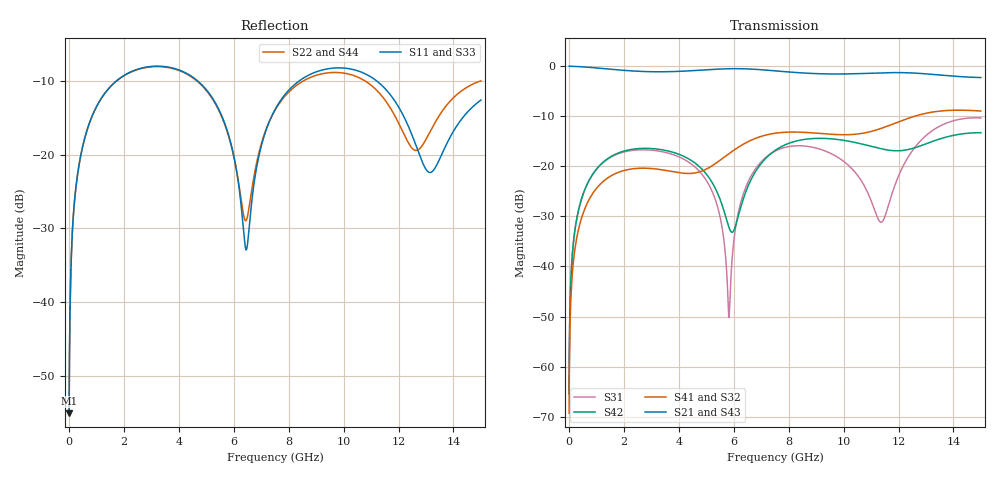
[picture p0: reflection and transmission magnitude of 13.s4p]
! Created with skrf 1.8.0 (http://scikit-rf.org).
# GHz S RI R 50.0
!freq ReS11 ImS11 ReS12 ImS12 ReS13 ImS13
! ReS14 ImS14
! ReS21 ImS21 ReS22 ImS22 ReS23 ImS23
! ReS24 ImS24
! ReS31 ImS31 ReS32 ImS32 ReS33 ImS33
! ReS34 ImS34
! ReS41 ImS41 ReS42 ImS42 ReS43 ImS43
! ReS44 ImS44
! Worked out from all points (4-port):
!   2499 points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, 5 MHz to 15 GHz, reference 50 ohm
!   strongest paths, dB at 5 MHz, 3.476 GHz, 7.19 GHz, 11.1 GHz, 15 GHz:
!     S21: 0.0, -1.1, -0.8, -1.4, -2.3
!     S43: 0.0, -1.1, -0.8, -1.4, -2.3
!     S41: -69.3, -20.8, -13.7, -12.9, -9.0
!     S32: -69.3, -20.8, -13.7, -12.9, -9.0
!     S42: -65.4, -16.8, -18.3, -16.1, -13.3
!     S31: -65.4, -17.2, -18.1, -28.2, -10.3
!   lowest |S11| = -55.1 dB at 5 MHz (marker M1), VSWR 1.00, Z = 50.1 + j0.107 ohm
!   |S11| at or under -10 dB: start of sweep to 1.727 GHz; 4.685 GHz to 8.384 GHz (3.699 GHz wide, 56.6 % of centre); 11.2 GHz to end of sweep
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0.005  0.0014 0.00107  0.9986 -0.00272  6.86e-05 0.00053  -6.68e-05 -0.000336
       0.9986 -0.00272  0.0014 0.00107  -6.68e-05 -0.000336  6.87e-05 0.00053
       6.86e-05 0.00053  -6.68e-05 -0.000336  0.0014 0.00107  0.9986 -0.00272
       -6.68e-05 -0.000336  6.87e-05 0.00053  0.9986 -0.00272  0.0014 0.00107
0.3126303  0.0184 0.071  0.9751 -0.1702  0.00767 0.032  -0.00661 -0.0202
           0.9751 -0.1702  0.0183 0.071  -0.00661 -0.0202  0.0081 0.0319
           0.00767 0.032  -0.00661 -0.0202  0.0184 0.071  0.9751 -0.1702
           -0.00661 -0.0202  0.0081 0.0319  0.9751 -0.1702  0.0183 0.071
1.569404  0.227 0.192  0.6406 -0.6711  0.1026 0.0718  -0.0789 -0.0202
          0.6406 -0.6711  0.2251 0.1929  -0.0788 -0.0202  0.109 0.0649
          0.1026 0.0718  -0.0788 -0.0202  0.227 0.1919  0.6405 -0.6711
          -0.0789 -0.0202  0.109 0.0649  0.6405 -0.6711  0.2251 0.1929
5.827428  0.058 -0.1196  -0.8746 -0.3477  0.00297 0.000873  -0.045 0.126
          -0.8746 -0.3477  0.0688 -0.111  -0.0456 0.1258  -0.0212 -0.0124
          0.00297 0.000873  -0.0456 0.1258  0.0588 -0.1197  -0.8746 -0.3476
          -0.045 0.126  -0.0212 -0.0124  -0.8746 -0.3476  0.0682 -0.1116
6.440183  0.0224 -0.00387  -0.9372 -0.0537  0.0105 0.061  -0.00489 0.1714
          -0.9372 -0.0537  0.0355 -0.00041  -0.00568 0.1713  -0.00275 0.0556
          0.0105 0.061  -0.00568 0.1713  0.0236 -0.00393  -0.9372 -0.0535
          -0.00489 0.1714  -0.00275 0.0556  -0.9372 -0.0535  0.0345 -0.000634
10.36682  0.3639 -0.0987  0.1615 0.8229  0.087 -0.0254  0.1917 -0.0811
          0.1615 0.8229  0.3366 -0.0709  0.1918 -0.0785  0.0601 -0.1634
          0.087 -0.0254  0.1918 -0.0785  0.3664 -0.1024  0.1618 0.8216
          0.1917 -0.0811  0.0601 -0.1634  0.1618 0.8216  0.3398 -0.0687
15  0.2207 0.079  0.522 -0.564  0.3017 0.0352  -0.3125 -0.1712
    0.522 -0.564  0.3107 0.0613  -0.3093 -0.1746  0.1922 0.0992
    0.3017 0.0352  -0.3093 -0.1746  0.2209 0.0772  0.521 -0.5656
    -0.3125 -0.1712  0.1922 0.0992  0.521 -0.5656  0.3085 0.058
